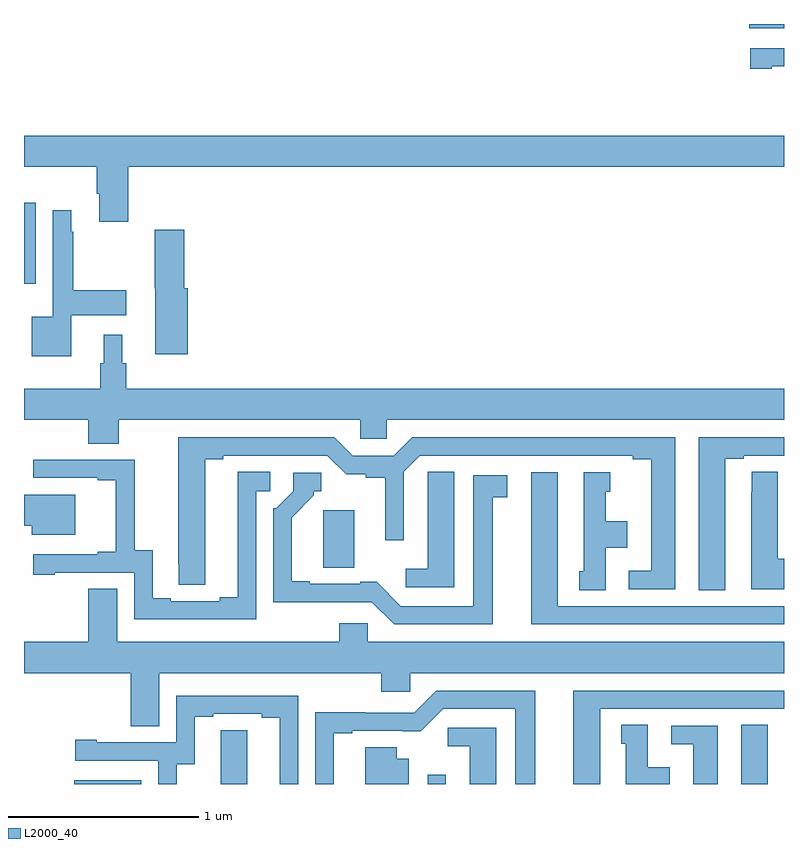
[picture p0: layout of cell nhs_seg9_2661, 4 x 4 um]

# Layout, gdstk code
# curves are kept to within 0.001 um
import gdstk
lib = gdstk.Library(unit=1e-6, precision=1e-09)
def R(c, l, rs):  # rectangles x0, y0, x1, y1
    for r in rs: c.add(gdstk.rectangle(r[:2], r[2:], *l))
def P(c, l, *ps):  # polygons
    for p in ps: c.add(gdstk.Polygon(p, *l))
L2000_40 = (2000, 40)

nhs_seg9_2661 = lib.new_cell('nhs_seg9_2661')
R(nhs_seg9_2661, L2000_40, [(263.264,1198.5,263.617,1198.519), (265.125,1198.5,265.221,1198.549), (266.774,1198.5,266.914,1198.811), (263,1201.134,263.061,1201.56), (266.816,1202.477,267,1202.5)])
P(nhs_seg9_2661, L2000_40, [(266.935,1202.277),(267,1202.277),(267,1202.373),(266.823,1202.373),(266.823,1202.265),(266.935,1202.265)],
  [(263.549,1201.748),(267,1201.748),(267,1201.912),(263,1201.912),(263,1201.748),(263.384,1201.748),(263.384,1201.606),(263.396,1201.606),(263.396,1201.458),(263.549,1201.458)],
  [(263.248,1200.968),(263.539,1200.968),(263.539,1201.098),(263.26,1201.098),(263.26,1201.406),(263.248,1201.406),(263.248,1201.519),(263.151,1201.519),(263.151,1200.958),(263.042,1200.958),(263.042,1200.752),(263.248,1200.752)],
  [(263.861,1201.11),(263.843,1201.11),(263.843,1201.417),(263.689,1201.417),(263.689,1201.11),(263.69,1201.11),(263.69,1200.762),(263.861,1200.762)],
  [(263.499,1200.416),(264.771,1200.416),(264.771,1200.318),(264.909,1200.318),(264.909,1200.416),(267,1200.416),(267,1200.58),(263.537,1200.58),(263.537,1200.714),(263.518,1200.714),(263.518,1200.865),(263.42,1200.865),(263.42,1200.714),(263.401,1200.714),(263.401,1200.58),(263,1200.58),(263,1200.416),(263.339,1200.416),(263.339,1200.292),(263.499,1200.292)],
  [(266.692,1200.213),(266.788,1200.213),(266.788,1200.228),(267,1200.228),(267,1200.324),(266.552,1200.324),(266.552,1199.521),(266.692,1199.521)],
  [(266.428,1200.324),(265.043,1200.324),(264.947,1200.228),(264.729,1200.228),(264.633,1200.324),(263.813,1200.324),(263.814,1199.548),(263.953,1199.548),(263.953,1200.208),(264.049,1200.208),(264.049,1200.228),(264.597,1200.228),(264.695,1200.131),(264.798,1200.131),(264.798,1200.112),(264.902,1200.112),(264.902,1199.784),(264.999,1199.784),(264.999,1200.144),(265.083,1200.228),(266.204,1200.228),(266.204,1200.208),(266.3,1200.208),(266.3,1199.622),(266.184,1199.622),(266.184,1199.526),(266.428,1199.526)],
  [(264.222,1200.042),(264.295,1200.042),(264.295,1200.143),(264.125,1200.143),(264.125,1199.483),(264.029,1199.483),(264.029,1199.463),(263.773,1199.463),(263.773,1199.478),(263.677,1199.478),(263.677,1199.729),(263.583,1199.729),(263.583,1200.207),(263.049,1200.207),(263.049,1200.111),(263.387,1200.111),(263.387,1200.099),(263.483,1200.099),(263.483,1199.722),(263.387,1199.722),(263.387,1199.709),(263.049,1199.709),(263.049,1199.601),(263.161,1199.601),(263.161,1199.613),(263.58,1199.613),(263.58,1199.367),(264.222,1199.367)],
  [(265.264,1200.143),(265.125,1200.143),(265.125,1200.035),(265.124,1200.035),(265.124,1199.632),(265.008,1199.632),(265.008,1199.535),(265.264,1199.535)],
  [(267,1199.685),(266.968,1199.685),(266.968,1200.143),(266.829,1200.143),(266.829,1200.035),(266.828,1200.035),(266.828,1199.525),(267,1199.525)],
  [(267,1199.436),(265.81,1199.436),(265.81,1200.142),(265.67,1200.142),(265.67,1199.34),(267,1199.34)],
  [(266.062,1199.744),(266.176,1199.744),(266.176,1199.884),(266.062,1199.884),(266.062,1200.039),(266.086,1200.039),(266.086,1200.142),(265.946,1200.142),(265.946,1199.619),(265.922,1199.619),(265.922,1199.521),(266.062,1199.521)],
  [(265.468,1200.01),(265.543,1200.01),(265.543,1200.126),(265.364,1200.126),(265.364,1199.436),(264.984,1199.436),(264.856,1199.564),(264.77,1199.564),(264.77,1199.553),(264.505,1199.553),(264.505,1199.566),(264.409,1199.566),(264.409,1199.902),(264.526,1200.019),(264.526,1200.042),(264.565,1200.042),(264.565,1200.138),(264.417,1200.138),(264.417,1200.042),(264.327,1199.952),(264.312,1199.952),(264.312,1199.456),(264.831,1199.457),(264.948,1199.34),(265.468,1199.34)],
  [(263.269,1200.022),(263,1200.022),(263,1199.858),(263.042,1199.858),(263.042,1199.813),(263.269,1199.813)],
  [(264.738,1199.796),(264.739,1199.796),(264.739,1199.941),(264.575,1199.941),(264.575,1199.638),(264.738,1199.638)],
  [(263.713,1199.084),(264.881,1199.084),(264.881,1198.986),(265.032,1198.986),(265.032,1199.084),(267,1199.084),(267,1199.248),(264.81,1199.248),(264.81,1199.346),(264.659,1199.346),(264.659,1199.248),(263.491,1199.248),(263.491,1199.528),(263.339,1199.528),(263.339,1199.248),(263,1199.248),(263,1199.084),(263.561,1199.084),(263.561,1198.804),(263.713,1198.804)],
  [(264.631,1198.767),(264.727,1198.767),(264.727,1198.779),(265.088,1198.778),(265.206,1198.896),(265.586,1198.896),(265.586,1198.5),(265.69,1198.5),(265.69,1198.992),(265.17,1198.992),(265.053,1198.875),(264.797,1198.875),(264.797,1198.877),(264.534,1198.877),(264.534,1198.5),(264.631,1198.5)],
  [(266.032,1198.896),(267,1198.896),(267,1198.992),(265.892,1198.992),(265.892,1198.5),(266.032,1198.5)],
  [(263.805,1198.603),(263.899,1198.603),(263.899,1198.854),(263.995,1198.854),(263.995,1198.869),(264.251,1198.869),(264.251,1198.849),(264.347,1198.849),(264.347,1198.5),(264.444,1198.5),(264.444,1198.965),(263.802,1198.965),(263.802,1198.719),(263.383,1198.719),(263.383,1198.732),(263.271,1198.732),(263.271,1198.623),(263.706,1198.623),(263.706,1198.5),(263.805,1198.5)],
  [(266.398,1198.588),(266.284,1198.588),(266.284,1198.811),(266.144,1198.811),(266.144,1198.713),(266.168,1198.713),(266.168,1198.5),(266.398,1198.5)],
  [(266.65,1198.806),(266.406,1198.806),(266.406,1198.71),(266.522,1198.71),(266.522,1198.5),(266.65,1198.5)],
  [(265.486,1198.797),(265.23,1198.797),(265.23,1198.7),(265.346,1198.7),(265.346,1198.5),(265.486,1198.5)],
  [(264.175,1198.784),(264.036,1198.784),(264.036,1198.676),(264.035,1198.676),(264.035,1198.5),(264.175,1198.5)],
  [(265.024,1198.633),(264.961,1198.633),(264.961,1198.694),(264.797,1198.694),(264.797,1198.5),(265.024,1198.5)])

lib.write_gds('nhs_seg9_2661.gds')
